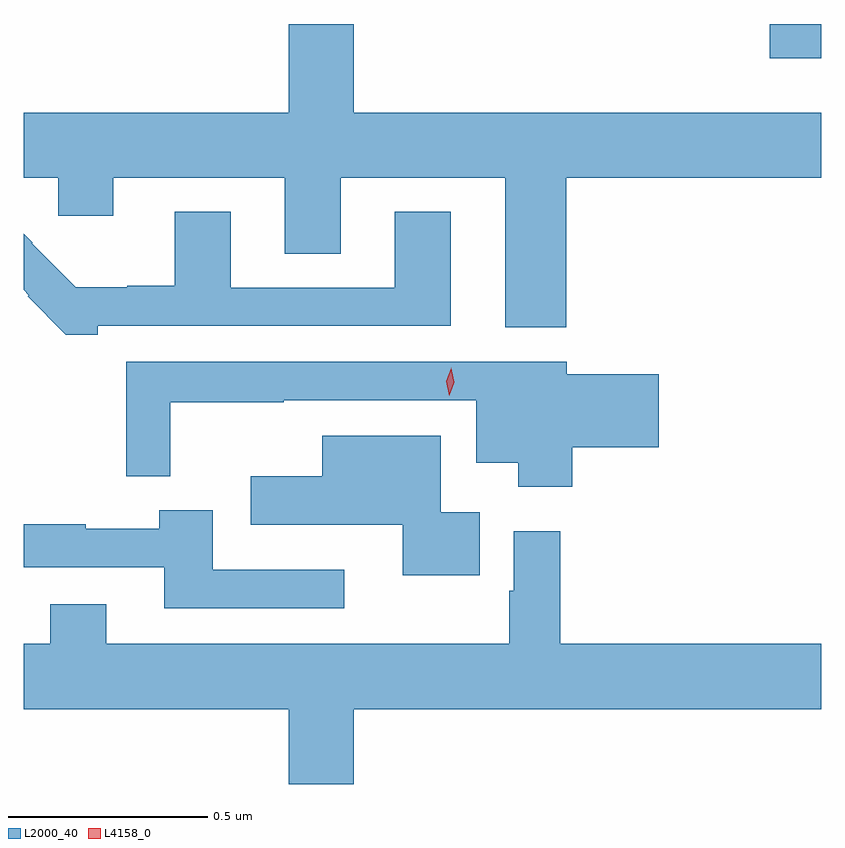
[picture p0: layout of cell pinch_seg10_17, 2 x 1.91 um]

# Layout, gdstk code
import gdstk
lib = gdstk.Library(unit=1e-6, precision=1e-09)
def R(c, l, rs):  # rectangles x0, y0, x1, y1
    for r in rs: c.add(gdstk.rectangle(r[:2], r[2:], *l))
def P(c, l, *ps):  # polygons
    for p in ps: c.add(gdstk.Polygon(p, *l))
L2000_40 = (2000, 40)
L4158_0 = (4158, 0)

pinch_seg10_17 = lib.new_cell('pinch_seg10_17')
R(pinch_seg10_17, L2000_40, [(957.423,1265.984,957.552,1266.07)])
P(pinch_seg10_17, L2000_40, [(956.912,1265.684),(957.552,1265.684),(957.552,1265.848),(956.38,1265.848),(956.38,1266.07),(956.216,1266.07),(956.216,1265.848),(955.552,1265.848),(955.552,1265.684),(955.638,1265.684),(955.638,1265.589),(955.777,1265.589),(955.777,1265.684),(956.207,1265.684),(956.207,1265.494),(956.347,1265.494),(956.347,1265.684),(956.759,1265.684),(956.759,1265.309),(956.912,1265.309)],
  [(955.738,1265.313),(956.623,1265.313),(956.623,1265.599),(956.483,1265.599),(956.483,1265.409),(956.071,1265.409),(956.071,1265.599),(955.931,1265.599),(955.931,1265.414),(955.811,1265.414),(955.811,1265.41),(955.682,1265.41),(955.572,1265.52),(955.574,1265.522),(955.552,1265.544),(955.552,1265.403),(955.565,1265.39),(955.562,1265.387),(955.657,1265.291),(955.738,1265.291)],
  [(956.927,1265.009),(957.145,1265.009),(957.145,1265.192),(956.914,1265.192),(956.914,1265.223),(955.809,1265.223),(955.809,1264.936),(955.919,1264.936),(955.919,1265.122),(956.204,1265.122),(956.204,1265.127),(956.687,1265.127),(956.687,1264.97),(956.792,1264.97),(956.792,1264.91),(956.927,1264.91)],
  [(956.696,1264.846),(956.598,1264.846),(956.598,1265.038),(956.3,1265.038),(956.3,1264.936),(956.121,1264.936),(956.121,1264.814),(956.502,1264.814),(956.502,1264.688),(956.696,1264.688)],
  [(956.356,1264.701),(956.026,1264.701),(956.026,1264.851),(955.892,1264.851),(955.892,1264.804),(955.708,1264.804),(955.708,1264.816),(955.552,1264.816),(955.552,1264.707),(955.904,1264.707),(955.904,1264.605),(956.356,1264.605)],
  [(956.38,1264.352),(957.552,1264.352),(957.552,1264.516),(956.897,1264.516),(956.897,1264.798),(956.781,1264.798),(956.781,1264.649),(956.769,1264.649),(956.769,1264.516),(955.759,1264.516),(955.759,1264.615),(955.619,1264.615),(955.619,1264.516),(955.552,1264.516),(955.552,1264.352),(956.216,1264.352),(956.216,1264.164),(956.38,1264.164)])
P(pinch_seg10_17, L4158_0, [(956.619,1265.138),(956.619,1265.138),(956.612,1265.174),(956.624,1265.207),(956.624,1265.208),(956.624,1265.207),(956.632,1265.172),(956.619,1265.138)])

lib.write_gds('pinch_seg10_17.gds')
